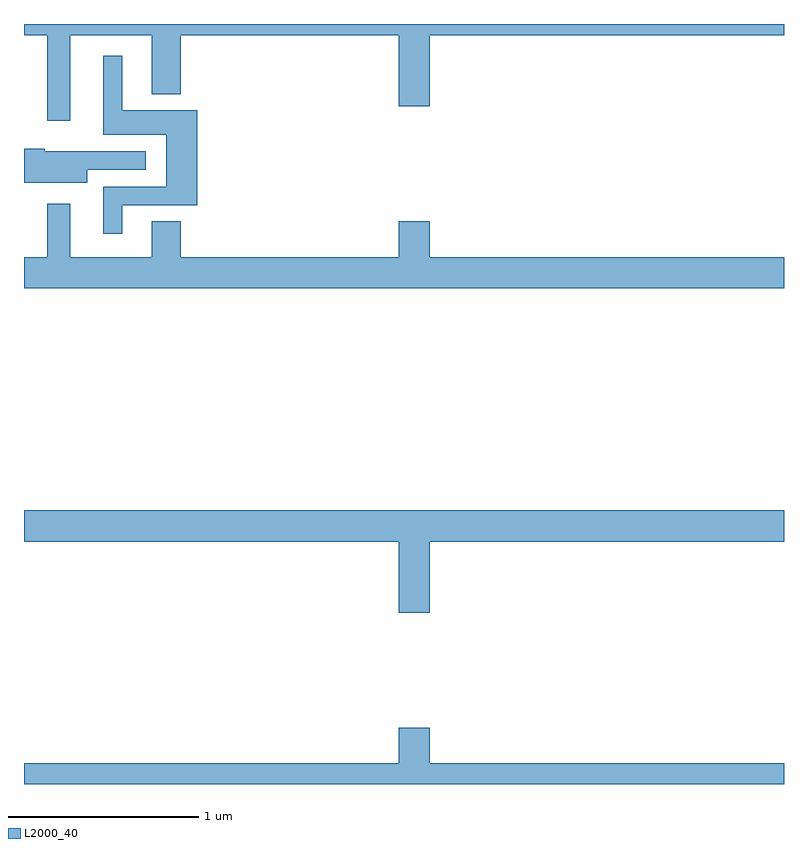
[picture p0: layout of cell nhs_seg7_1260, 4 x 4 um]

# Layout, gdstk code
import gdstk
lib = gdstk.Library(unit=1e-6, precision=1e-09)
def P(c, l, *ps):  # polygons
    for p in ps: c.add(gdstk.Polygon(p, *l))
L2000_40 = (2000, 40)

nhs_seg7_1260 = lib.new_cell('nhs_seg7_1260')
P(nhs_seg7_1260, L2000_40, [(199.243,1009.94),(199.673,1009.94),(199.673,1009.631),(199.826,1009.631),(199.826,1009.94),(200.972,1009.94),(200.972,1009.566),(201.136,1009.566),(201.136,1009.94),(203,1009.94),(203,1010),(199,1010),(199,1009.94),(199.122,1009.94),(199.122,1009.491),(199.243,1009.491)],
  [(199.516,1009.047),(199.912,1009.047),(199.912,1009.546),(199.516,1009.546),(199.516,1009.834),(199.418,1009.834),(199.418,1009.418),(199.748,1009.418),(199.748,1009.143),(199.418,1009.143),(199.418,1008.897),(199.516,1008.897)],
  [(199.333,1009.233),(199.642,1009.233),(199.642,1009.329),(199.329,1009.329),(199.329,1009.33),(199.11,1009.33),(199.11,1009.343),(199,1009.343),(199,1009.165),(199.333,1009.165)],
  [(203,1008.772),(201.136,1008.772),(201.136,1008.961),(200.972,1008.961),(200.972,1008.772),(199.826,1008.772),(199.826,1008.962),(199.673,1008.962),(199.673,1008.772),(199.243,1008.772),(199.243,1009.054),(199.122,1009.054),(199.122,1008.772),(199,1008.772),(199,1008.608),(203,1008.608)],
  [(201.136,1007.276),(203,1007.276),(203,1007.44),(199,1007.44),(199,1007.276),(200.972,1007.276),(200.972,1006.902),(201.136,1006.902)],
  [(203,1006.108),(201.136,1006.108),(201.136,1006.297),(200.972,1006.297),(200.972,1006.108),(199,1006.108),(199,1006),(203,1006)])

lib.write_gds('nhs_seg7_1260.gds')
